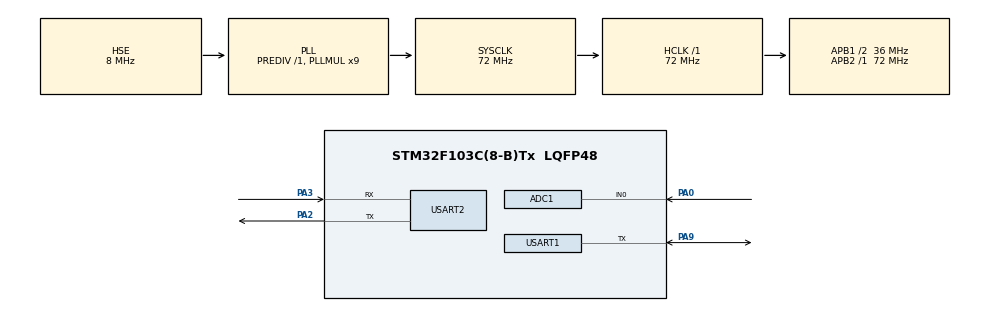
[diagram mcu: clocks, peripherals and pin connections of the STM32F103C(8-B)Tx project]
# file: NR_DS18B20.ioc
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ADC1.Channel-0\#ChannelRegularConversion=ADC_CHANNEL_0
ADC1.NbrOfConversionFlag=1
ADC1.Rank-0\#ChannelRegularConversion=1
ADC1.SamplingTime-0\#ChannelRegularConversion=ADC_SAMPLETIME_1CYCLE_5
ADC1.master=1
Mcu.Family=STM32F1
Mcu.Name=STM32F103C(8-B)Tx
Mcu.Package=LQFP48
NVIC.ADC1_2_IRQn=true\:0\:0\:false\:false\:true\:true\:true
NVIC.PriorityGroup=NVIC_PRIORITYGROUP_4
NVIC.USART1_IRQn=true\:0\:0\:false\:false\:true\:true\:true
PA0-WKUP.Signal=ADCx_IN0
PA13.Mode=Serial_Wire
PA13.Signal=SYS_JTMS-SWDIO
PA14.Mode=Serial_Wire
PA14.Signal=SYS_JTCK-SWCLK
PA2.Mode=Asynchronous
PA2.Signal=USART2_TX
PA3.Mode=Asynchronous
PA3.Signal=USART2_RX
PA9.Mode=Half_duplex(single_wire_mode)
PA9.Signal=USART1_TX
PD0-OSC_IN.Mode=HSE-External-Oscillator
PD0-OSC_IN.Signal=RCC_OSC_IN
PD1-OSC_OUT.Mode=HSE-External-Oscillator
PD1-OSC_OUT.Signal=RCC_OSC_OUT
ProjectManager.HeapSize=0x200
ProjectManager.StackSize=0x400
ProjectManager.TargetToolchain=STM32CubeIDE
RCC.ADCPresc=RCC_ADCPCLK2_DIV6
RCC.AHBFreq_Value=72000000
RCC.APB1CLKDivider=RCC_HCLK_DIV2
RCC.APB1Freq_Value=36000000
RCC.APB1TimFreq_Value=72000000
RCC.APB2Freq_Value=72000000
RCC.APB2TimFreq_Value=72000000
RCC.HCLKFreq_Value=72000000
RCC.PLLMUL=RCC_PLL_MUL9
RCC.PLLSourceVirtual=RCC_PLLSOURCE_HSE
RCC.SYSCLKFreq_VALUE=72000000
RCC.SYSCLKSource=RCC_SYSCLKSOURCE_PLLCLK
RCC.USBFreq_Value=72000000
SH.ADCx_IN0.0=ADC1_IN0,IN0
USART1.VirtualMode=VM_ASYNC
USART2.VirtualMode=VM_ASYNC
board=custom

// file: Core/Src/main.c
/* USER CODE BEGIN Header */
/**
  ******************************************************************************
  * @file           : main.c
  * @brief          : Main program body
  ******************************************************************************
  * @attention
  *
  * <h2><center>&copy; Copyright (c) 2022 STMicroelectronics.
  * All rights reserved.</center></h2>
  *
  * This software component is licensed by ST under BSD 3-Clause license,
  * the "License"; You may not use this file except in compliance with the
  * License. You may obtain a copy of the License at:
  *                        opensource.org/licenses/BSD-3-Clause
  *
  ******************************************************************************
  */
/* USER CODE END Header */
#include "main.h"
#include "adc.h"
#include "usart.h"
#include "gpio.h"

/* USER CODE BEGIN Includes */
#include "OneWire.h"
/* USER CODE END Includes */

/* USER CODE BEGIN PM */
extern float Temp[MAXDEVICES_ON_THE_BUS];  //т.к. оно определено в другом месте.
/* USER CODE END PM */

void SystemClock_Config(void);

int main(void)
{
  /* USER CODE BEGIN 1 */
	float i =0;
	float k = 0.00115;
	float volt;
	float current;
  /* USER CODE END 1 */

  /* MCU Configuration--------------------------------------------------------*/

  /* Reset of all peripherals, Initializes the Flash interface and the Systick. */
  HAL_Init();

  /* Configure the system clock */
  SystemClock_Config();

  /* Initialize all configured peripherals */
  MX_GPIO_Init();
  MX_USART1_UART_Init();
  MX_USART2_UART_Init();
  MX_ADC1_Init();

  /* Infinite loop */
  /* USER CODE BEGIN WHILE */
  get_ROMid();
  while (1)
  {
	  HAL_ADC_Start(&hadc1); //Start A-D converting
	  HAL_ADC_PollForConversion(&hadc1, 100); //Waiting for end of converting
	  i = HAL_ADC_GetValue(&hadc1);  //Take values from ADC.
	  HAL_ADC_Stop(&hadc1); //Stop converting
	  volt = i*k*2;
	  current = i*k;
	  get_Temperature();
	  HAL_Delay(2000);
	  char buffer[100];
	  sprintf(buffer, "%d,%d,%f,%f\n",(int)Temp[0], (int)Temp[1], volt, current);
	  HAL_UART_Transmit(&huart2, (uint8_t*)buffer, strlen(buffer), 1000);
    /* USER CODE END WHILE */

  }
}

void SystemClock_Config(void)
{
  RCC_OscInitTypeDef RCC_OscInitStruct = {0};
  RCC_ClkInitTypeDef RCC_ClkInitStruct = {0};
  RCC_PeriphCLKInitTypeDef PeriphClkInit = {0};

  /** Initializes the RCC Oscillators according to the specified parameters
  * in the RCC_OscInitTypeDef structure.
  */
  RCC_OscInitStruct.OscillatorType = RCC_OSCILLATORTYPE_HSE;
  RCC_OscInitStruct.HSEState = RCC_HSE_ON;
  RCC_OscInitStruct.HSEPredivValue = RCC_HSE_PREDIV_DIV1;
  RCC_OscInitStruct.HSIState = RCC_HSI_ON;
  RCC_OscInitStruct.PLL.PLLState = RCC_PLL_ON;
  RCC_OscInitStruct.PLL.PLLSource = RCC_PLLSOURCE_HSE;
  RCC_OscInitStruct.PLL.PLLMUL = RCC_PLL_MUL9;
  if (HAL_RCC_OscConfig(&RCC_OscInitStruct) != HAL_OK)
  {
    Error_Handler();
  }
  /** Initializes the CPU, AHB and APB buses clocks
  */
  RCC_ClkInitStruct.ClockType = RCC_CLOCKTYPE_HCLK|RCC_CLOCKTYPE_SYSCLK
                              |RCC_CLOCKTYPE_PCLK1|RCC_CLOCKTYPE_PCLK2;
  RCC_ClkInitStruct.SYSCLKSource = RCC_SYSCLKSOURCE_PLLCLK;
  RCC_ClkInitStruct.AHBCLKDivider = RCC_SYSCLK_DIV1;
  RCC_ClkInitStruct.APB1CLKDivider = RCC_HCLK_DIV2;
  RCC_ClkInitStruct.APB2CLKDivider = RCC_HCLK_DIV1;

  if (HAL_RCC_ClockConfig(&RCC_ClkInitStruct, FLASH_LATENCY_2) != HAL_OK)
  {
    Error_Handler();
  }
  PeriphClkInit.PeriphClockSelection = RCC_PERIPHCLK_ADC;
  PeriphClkInit.AdcClockSelection = RCC_ADCPCLK2_DIV6;
  if (HAL_RCCEx_PeriphCLKConfig(&PeriphClkInit) != HAL_OK)
  {
    Error_Handler();
  }
}

void Error_Handler(void)
{
  __disable_irq();
  while (1)
  {
  }
}

/************************ (C) COPYRIGHT STMicroelectronics *****END OF FILE****/
